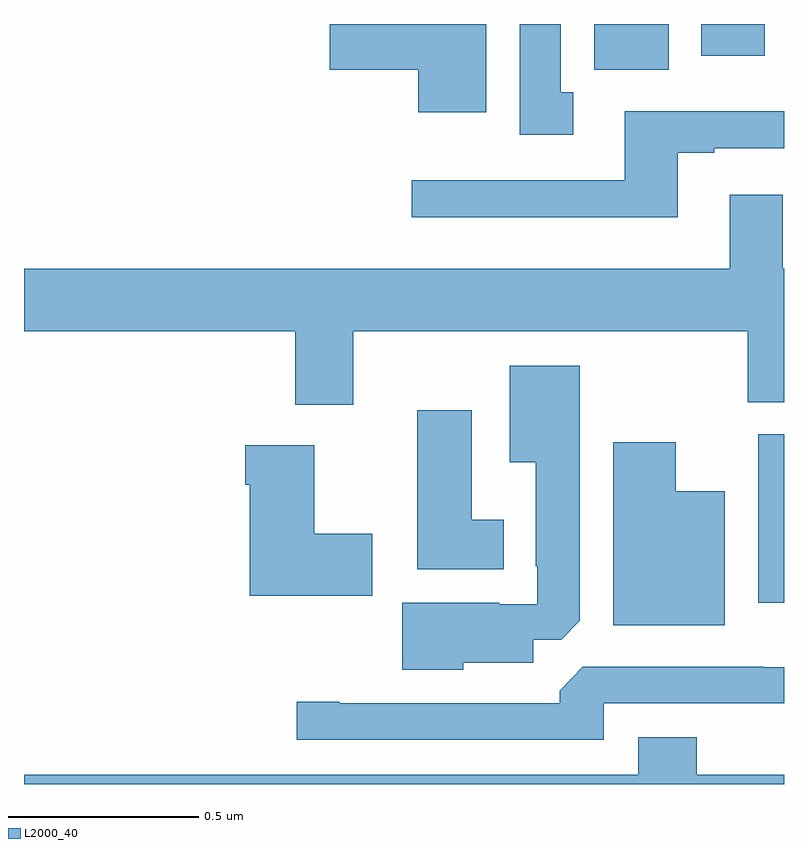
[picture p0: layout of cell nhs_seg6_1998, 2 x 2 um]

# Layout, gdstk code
import gdstk
lib = gdstk.Library(unit=1e-6, precision=1e-09)
def R(c, l, rs):  # rectangles x0, y0, x1, y1
    for r in rs: c.add(gdstk.rectangle(r[:2], r[2:], *l))
def P(c, l, *ps):  # polygons
    for p in ps: c.add(gdstk.Polygon(p, *l))
L2000_40 = (2000, 40)

nhs_seg6_1998 = lib.new_cell('nhs_seg6_1998')
R(nhs_seg6_1998, L2000_40, [(138.932,923.977,139,924.42), (138.501,925.38,138.697,925.5), (138.782,925.416,138.949,925.5)])
P(nhs_seg6_1998, L2000_40, [(138.445,925.321),(138.412,925.321),(138.412,925.5),(138.305,925.5),(138.305,925.209),(138.445,925.209)],
  [(138.217,925.5),(137.804,925.5),(137.804,925.379),(138.038,925.379),(138.038,925.268),(138.217,925.268)],
  [(138.721,925.161),(138.817,925.161),(138.817,925.173),(139,925.173),(139,925.27),(138.581,925.27),(138.581,925.089),(138.021,925.089),(138.021,924.992),(138.721,924.992)],
  [(137.866,924.692),(138.904,924.692),(138.904,924.505),(139,924.505),(139,924.856),(138.997,924.856),(138.997,925.051),(138.857,925.051),(138.857,924.856),(137,924.856),(137,924.692),(137.714,924.692),(137.714,924.498),(137.866,924.498)],
  [(138.156,923.819),(138.34,923.819),(138.34,923.88),(138.414,923.88),(138.463,923.929),(138.463,924.601),(138.278,924.601),(138.278,924.347),(138.347,924.347),(138.347,924.073),(138.351,924.073),(138.351,923.973),(138.251,923.973),(138.251,923.977),(137.996,923.977),(137.996,923.801),(138.156,923.801)],
  [(138.262,924.196),(138.178,924.196),(138.178,924.484),(138.035,924.484),(138.035,924.065),(138.262,924.065)],
  [(138.844,924.271),(138.715,924.271),(138.715,924.4),(138.551,924.4),(138.551,923.918),(138.844,923.918)],
  [(137.917,924.159),(137.764,924.159),(137.764,924.391),(137.582,924.391),(137.582,924.287),(137.594,924.287),(137.594,923.996),(137.917,923.996)],
  [(138.525,923.712),(139,923.712),(139,923.807),(138.947,923.807),(138.947,923.809),(138.586,923.809),(138.586,923.808),(138.471,923.808),(138.41,923.746),(138.41,923.712),(137.83,923.712),(137.83,923.717),(137.718,923.717),(137.718,923.616),(138.525,923.616)],
  [(139,923.524),(138.77,923.524),(138.77,923.623),(138.617,923.623),(138.617,923.524),(137,923.524),(137,923.5),(139,923.5)])

lib.write_gds('nhs_seg6_1998.gds')
